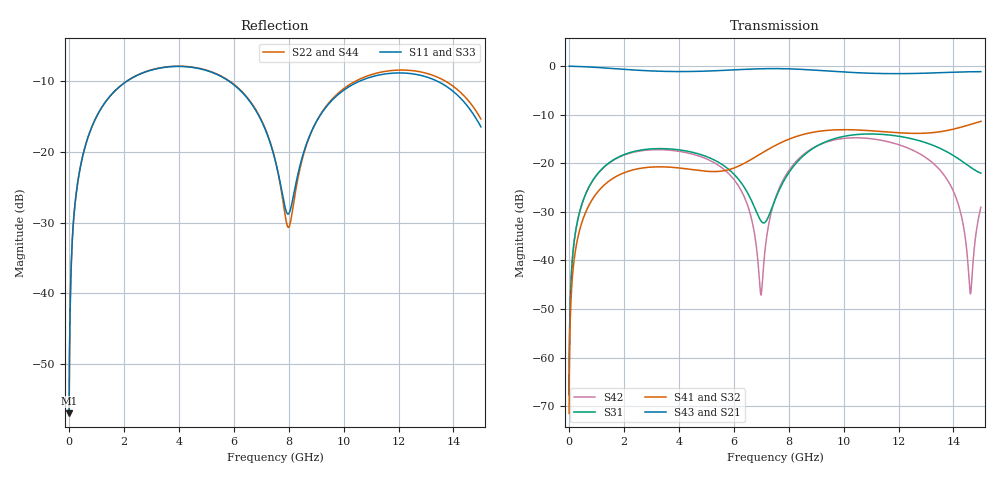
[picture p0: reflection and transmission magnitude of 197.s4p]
! Created with skrf 1.8.0 (http://scikit-rf.org).
# GHz S RI R 50.0
!freq ReS11 ImS11 ReS12 ImS12 ReS13 ImS13
! ReS14 ImS14
! ReS21 ImS21 ReS22 ImS22 ReS23 ImS23
! ReS24 ImS24
! ReS31 ImS31 ReS32 ImS32 ReS33 ImS33
! ReS34 ImS34
! ReS41 ImS41 ReS42 ImS42 ReS43 ImS43
! ReS44 ImS44
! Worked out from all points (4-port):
!   2499 points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, 5 MHz to 15 GHz, reference 50 ohm
!   strongest paths, dB at 5 MHz, 3.476 GHz, 7.19 GHz, 11.1 GHz, 15 GHz:
!     S43: 0.0, -1.1, -0.5, -1.5, -1.1
!     S21: 0.0, -1.1, -0.5, -1.5, -1.1
!     S41: -71.5, -20.7, -17.3, -13.3, -11.4
!     S32: -71.5, -20.7, -17.3, -13.3, -11.4
!     S31: -67.7, -17.0, -31.8, -14.0, -22.0
!     S42: -67.7, -17.2, -35.5, -15.0, -29.0
!   lowest |S11| = -56.9 dB at 5 MHz (marker M1), VSWR 1.00, Z = 50.1 + j0.0869 ohm
!   |S11| at or under -10 dB: start of sweep to 2.122 GHz; 5.814 GHz to 10.6 GHz (4.789 GHz wide, 58.3 % of centre); 13.39 GHz to end of sweep
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0.005  0.00113 0.000867  0.9988 -0.00221  5.43e-05 0.00041  -5.29e-05 -0.000262
       0.9988 -0.00221  0.00113 0.000867  -5.29e-05 -0.000262  5.42e-05 0.00041
       5.43e-05 0.00041  -5.29e-05 -0.000262  0.00113 0.000867  0.9988 -0.00221
       -5.29e-05 -0.000262  5.42e-05 0.00041  0.9988 -0.00221  0.00113 0.000867
0.4126719  0.0195 0.0753  0.9731 -0.1812  0.00859 0.0324  -0.00705 -0.0206
           0.9731 -0.1812  0.0195 0.0753  -0.00706 -0.0206  0.00822 0.0325
           0.00859 0.0324  -0.00706 -0.0206  0.0195 0.0754  0.9731 -0.1812
           -0.00705 -0.0206  0.00822 0.0325  0.9731 -0.1812  0.0195 0.0753
2.025844  0.2386 0.1932  0.6157 -0.6912  0.1082 0.0594  -0.0786 -0.0163
          0.6157 -0.6912  0.2402 0.1923  -0.0787 -0.0163  0.1032 0.0651
          0.1082 0.0594  -0.0787 -0.0163  0.2386 0.1932  0.6158 -0.6911
          -0.0786 -0.0163  0.1032 0.0651  0.6158 -0.6911  0.2401 0.1923
5.78366  0.262 -0.182  -0.5323 -0.7359  0.0437 -0.0766  -0.0476 0.0709
         -0.5323 -0.7359  0.2592 -0.1899  -0.0474 0.0713  0.0586 -0.0543
         0.0437 -0.0766  -0.0474 0.0713  0.2618 -0.1811  -0.5324 -0.7361
         -0.0476 0.0709  0.0586 -0.0543  -0.5324 -0.7361  0.2583 -0.19
6.990413  0.0915 -0.1408  -0.8414 -0.4173  -0.022 -0.013  -0.0525 0.1143
          -0.8414 -0.4173  0.0855 -0.147  -0.0519 0.1146  -0.00411 -0.00161
          -0.022 -0.013  -0.0519 0.1146  0.0921 -0.1395  -0.8416 -0.4173
          -0.0525 0.1143  -0.00411 -0.00161  -0.8416 -0.4173  0.0842 -0.1467
8.028345  0.037 0.00538  -0.9369 -0.0195  0.00282 0.0817  0.00095 0.1779
          -0.9369 -0.0195  0.0297 0.00349  0.00189 0.1778  0.0105 0.0853
          0.00282 0.0817  0.00189 0.1778  0.0384 0.00612  -0.9369 -0.0196
          0.00095 0.1779  0.0105 0.0853  -0.9369 -0.0196  0.0282 0.00436
15  0.1134 -0.0984  0.7616 0.4329  -0.0763 -0.0209  0.1325 -0.2354
    0.7616 0.4329  0.1022 -0.1364  0.1296 -0.2365  -0.00322 0.0351
    -0.0763 -0.0209  0.1296 -0.2365  0.1152 -0.0933  0.7618 0.4339
    0.1325 -0.2354  -0.00322 0.0351  0.7618 0.4339  0.097 -0.1344
